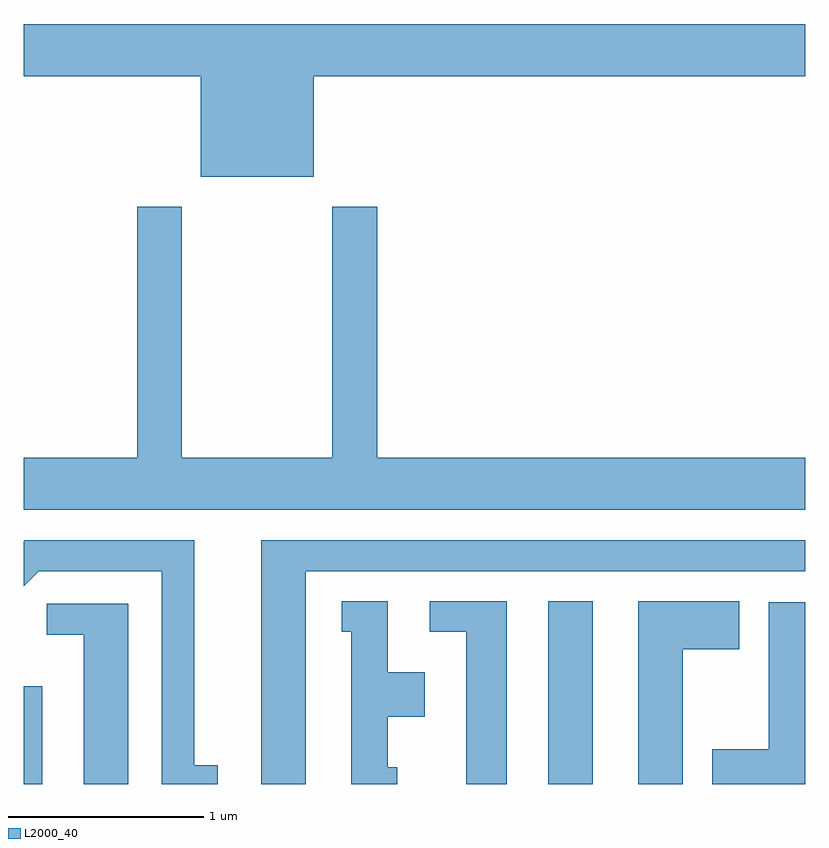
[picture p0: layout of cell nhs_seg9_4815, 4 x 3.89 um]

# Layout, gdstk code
import gdstk
lib = gdstk.Library(unit=1e-6, precision=1e-09)
def R(c, l, rs):  # rectangles x0, y0, x1, y1
    for r in rs: c.add(gdstk.rectangle(r[:2], r[2:], *l))
def P(c, l, *ps):  # polygons
    for p in ps: c.add(gdstk.Polygon(p, *l))
L2000_40 = (2000, 40)

nhs_seg9_4815 = lib.new_cell('nhs_seg9_4815')
R(nhs_seg9_4815, L2000_40, [(327.611,1970.432,327.704,1970.933), (330.296,1970.432,330.524,1971.369)])
P(nhs_seg9_4815, L2000_40, [(329.094,1974.056),(331.611,1974.056),(331.611,1974.324),(327.611,1974.324),(327.611,1974.056),(328.516,1974.056),(328.516,1973.541),(329.094,1973.541)],
  [(331.611,1972.104),(329.419,1972.104),(329.419,1973.389),(329.191,1973.389),(329.191,1972.104),(328.419,1972.104),(328.419,1973.389),(328.191,1973.389),(328.191,1972.104),(327.611,1972.104),(327.611,1971.836),(331.611,1971.836)],
  [(328.603,1970.529),(328.484,1970.529),(328.484,1971.679),(327.614,1971.679),(327.611,1971.676),(327.611,1971.445),(327.687,1971.521),(328.316,1971.521),(328.316,1970.432),(328.603,1970.432)],
  [(329.054,1971.521),(331.611,1971.521),(331.611,1971.679),(328.826,1971.679),(328.826,1970.432),(329.054,1970.432)],
  [(330.084,1971.369),(329.688,1971.369),(329.688,1971.211),(329.876,1971.211),(329.876,1970.432),(330.084,1970.432)],
  [(330.984,1971.121),(331.274,1971.121),(331.274,1971.369),(330.756,1971.369),(330.756,1970.432),(330.984,1970.432)],
  [(329.523,1970.519),(329.474,1970.519),(329.474,1970.776),(329.664,1970.776),(329.664,1971.004),(329.474,1971.004),(329.474,1971.369),(329.238,1971.369),(329.238,1971.211),(329.286,1971.211),(329.286,1970.432),(329.523,1970.432)],
  [(331.611,1971.364),(331.426,1971.364),(331.426,1970.609),(331.136,1970.609),(331.136,1970.432),(331.611,1970.432)],
  [(328.144,1971.354),(327.728,1971.354),(327.728,1971.196),(327.916,1971.196),(327.916,1970.432),(328.144,1970.432)])

lib.write_gds('nhs_seg9_4815.gds')
